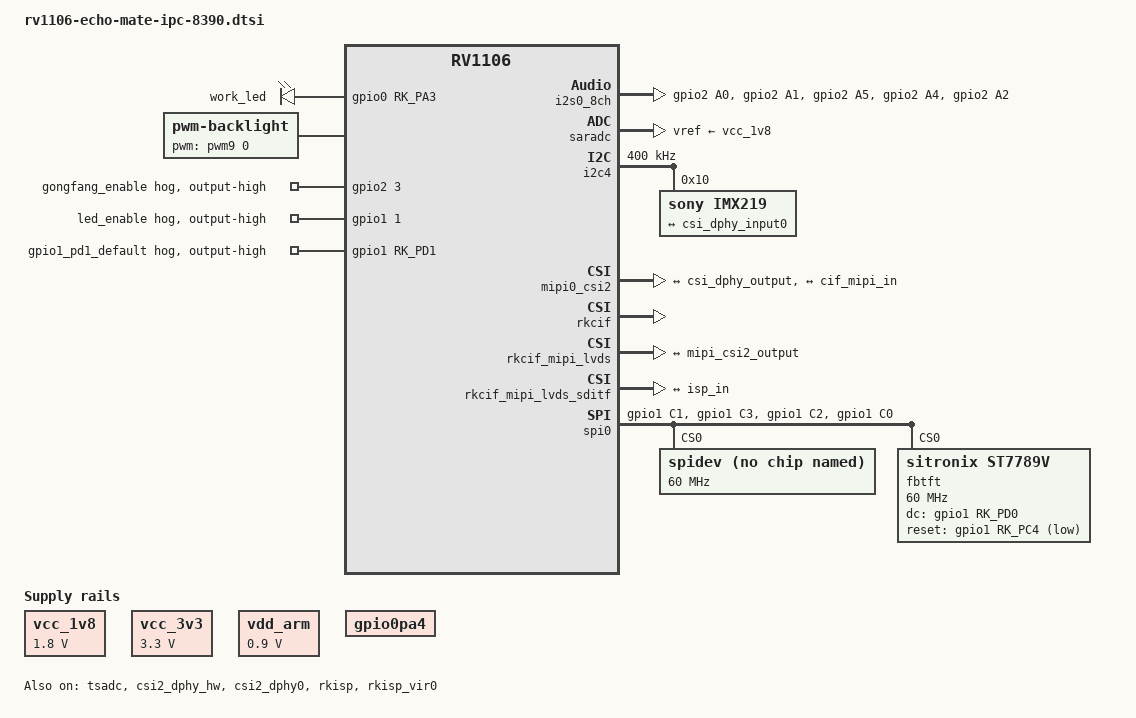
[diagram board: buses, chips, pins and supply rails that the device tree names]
// SPDX-License-Identifier: (GPL-2.0+ OR MIT)
/*
 * Copyright (c) 2022 Rockchip Electronics Co., Ltd.
 */
#include "rv1106-amp.dtsi"

/ {
	chosen {
		bootargs = "earlycon=uart8250,mmio32,0xff4c0000 console=ttyFIQ0 root=/dev/mmcblk1p7 rootwait snd_soc_core.prealloc_buffer_size_kbytes=16 coherent_pool=0 snd_soc_core.disable_offload=0";
	};

	es8390_sound: es8390-sound {
		status = "okay";
		compatible = "simple-audio-card";
		simple-audio-card,name = "rv1106-es8390";
		simple-audio-card,format = "i2s";
		simple-audio-card,mclk-fs = <256>;
		simple-audio-card,mclk-master = <&dai_cpu>;
		simple-audio-card,bitclock-master = <&dai_cpu>;
		simple-audio-card,frame-master = <&dai_cpu>;

		dai_cpu: simple-audio-card,cpu {
        	sound-dai = <&i2s0_8ch>;
    	};

		simple-audio-card,codec {
			sound-dai = <&es8390>;
		};

	};

	vcc_1v8: vcc-1v8 {
		compatible = "regulator-fixed";
		regulator-name = "vcc_1v8";
		regulator-always-on;
		regulator-boot-on;
		regulator-min-microvolt = <1800000>;
		regulator-max-microvolt = <1800000>;
	};

	vcc_3v3: vcc-3v3 {
		compatible = "regulator-fixed";
		regulator-name = "vcc_3v3";
		regulator-always-on;
		regulator-boot-on;
		regulator-min-microvolt = <3300000>;
		regulator-max-microvolt = <3300000>;
	};

	vdd_arm: vdd-arm {
		compatible = "regulator-fixed";
		regulator-name = "vdd_arm";
		regulator-min-microvolt = <900000>;
		regulator-max-microvolt = <900000>;
		regulator-always-on;

		regulator-boot-on;
	};
	leds: leds {
		compatible = "gpio-leds";
		work_led: work{
			gpios = <&gpio0 RK_PA3 GPIO_ACTIVE_HIGH>;
			linux,default-trigger = "activity";
			default-state = "on";
		};	
	};

	backlight: backlight {
		status = "okay";
		compatible = "pwm-backlight";
		pwms = <&pwm9 0 300000 0>;
		brightness-levels = <0 3 5 8 10 13 16 18 21 24 26 29 32 34 37 40 42 45 48 50
							52 54 56 58 61 64 66 69 72 74 77 80 82 85 88 90 93 96 98
							101 104 106 109 112 114 117 120 122 125 128 130 133 136
							138 141 144 146 149 152 154 157 160 162 165 168 170 173
							176 178 180 182 184 186 188 190 192 194 197 200 202 205 
							208 210 213 216 218 221 224 226 229 232 234 237 240 242 
							245 248 250 253 255>;
    	default-brightness-level = <50>; 
	};

	gpio0pa4:gpio0pa4 {
        compatible = "regulator-fixed";
        pinctrl-names = "default";
        pinctrl-0 = <&gpio0_pa4>;
        regulator-name = "gpio0_pa4";
        regulator-always-on;
    };

};



/***************************** AUDIO ********************************/
&i2s0_8ch {
	status = "okay";
	rockchip,clk-trcm = <1>;
	pinctrl-names = "default";
	pinctrl-0 = <&i2s0_sclk &i2s0_lrck &i2s0_sdi0 &i2s0_sdo0 &i2s0_mclk>;
	assigned-clocks = <&cru MCLK_I2S0_8CH_TX>,<&cru I2S0_8CH_MCLKOUT>;
	assigned-clock-rates = <12288000>, <12288000>;
	#sound-dai-cells = <0>;
};

/***************************** CPU ********************************/
&cpu0 {
	cpu-supply = <&vdd_arm>;
};

/***************************** ADC ********************************/
&saradc {
	status = "okay";
	vref-supply = <&vcc_1v8>;
};

&tsadc {
	status = "okay";
};

/***************************** CSI ********************************/
&csi2_dphy_hw {
	status = "okay";
};

&csi2_dphy0 {
	status = "okay";

	ports {
		#address-cells = <1>;
		#size-cells = <0>;

		port@0 {
			reg = <0>;
			#address-cells = <1>;
			#size-cells = <0>;

			csi_dphy_input0: endpoint@0 {
				reg = <0>;
				remote-endpoint = <&imx219_out>;
				data-lanes = <1 2>;
			};
		};

		port@1 {
			reg = <1>;
			#address-cells = <1>;
			#size-cells = <0>;

			csi_dphy_output: endpoint@0 {
				reg = <0>;
				remote-endpoint = <&mipi_csi2_input>;
			};
		};
	};
};

&i2c4 {
	status = "okay";
	clock-frequency = <400000>;
	pinctrl-names = "default";
	pinctrl-0 = <&i2c4m2_xfer>;

	 imx219: imx219@10 {
		status = "okay";
        compatible = "sony,imx219";
        reg = <0x10>;
        clocks = <&cru MCLK_REF_MIPI0>;
        clock-names = "xvclk";
        pinctrl-names = "default";
        pinctrl-0 = <&mipi_refclk_out0>;
        rockchip,camera-module-index = <0>;
        rockchip,camera-module-facing = "back";
        rockchip,camera-module-name = "IMX219";
        rockchip,camera-module-lens-name = "default";

        port {
            imx219_out: endpoint {
                data-lanes = <1 2>;
                remote-endpoint = <&csi_dphy_input0>;
            };
        };
    };
	
	
};

&mipi0_csi2 {
	status = "okay";

	ports {
		#address-cells = <1>;
		#size-cells = <0>;

		port@0 {
			reg = <0>;
			#address-cells = <1>;
			#size-cells = <0>;

			mipi_csi2_input: endpoint@1 {
				reg = <1>;
				remote-endpoint = <&csi_dphy_output>;
			};
		};

		port@1 {
			reg = <1>;
			#address-cells = <1>;
			#size-cells = <0>;

			mipi_csi2_output: endpoint@0 {
				reg = <0>;
				remote-endpoint = <&cif_mipi_in>;
			};
		};
	};
};

&rkcif {
	status = "okay";
};

&rkcif_mipi_lvds {
	status = "okay";

	pinctrl-names = "default";
	pinctrl-0 = <&mipi_pins>;
	port {
		/* MIPI CSI-2 endpoint */
		cif_mipi_in: endpoint {
			remote-endpoint = <&mipi_csi2_output>;
		};
	};
};

&rkcif_mipi_lvds_sditf {
	status = "okay";

	port {
		/* MIPI CSI-2 endpoint */
		mipi_lvds_sditf: endpoint {
			remote-endpoint = <&isp_in>;
		};
	};
};

&rkisp {
	status = "okay";
};

&rkisp_vir0 {
	status = "okay";

	port@0 {
		isp_in: endpoint {
			remote-endpoint = <&mipi_lvds_sditf>;
		};
	};
};


/*****************************PINCTRL********************************/
// SPI
&spi0 {
	pinctrl-0 = <&spi0m0_clk &spi0m0_miso &spi0m0_mosi &spi0m0_cs0>;
	#address-cells = <1>;
	#size-cells = <0>;
	spidev@0 {
    	compatible = "rockchip,spidev";
		spi-max-frequency = <60000000>;
		reg = <0>;
	};

	fbtft@0{
		compatible = "sitronix,st7789v";
		reg = <0>;
		spi-max-frequency = <60000000>;
		fps = <60>;
		buswidth = <8>;
		debug = <0x7>;
		rotate = <270>;
		//bgr = <1>;	//RGB->BGR
		//led-gpios = <&gpio1 RK_PC5 GPIO_ACTIVE_HIGH>;		//BL
		dc-gpios = <&gpio1 RK_PD0 GPIO_ACTIVE_HIGH>;		//DC
		reset-gpios = <&gpio1 RK_PC4 GPIO_ACTIVE_LOW>;		//RES
	};
};
// I2C
&i2c0 {
	pinctrl-0 = <&i2c0m2_xfer>;
};

&i2c1 {
	pinctrl-0 = <&i2c1m1_xfer>;
};

//&i2c3 {
//	pinctrl-0 = <&i2c3m1_xfer &i2c3m0_xfer>;
//};

// &i2c4 {
//  pinctrl-0 = <&i2c4m0_xfer>;
// };

// UART
&uart1 {
	pinctrl-0 = <&uart1m1_xfer>;
};
&uart3 {
	pinctrl-0 = <&uart3m1_xfer>;
};
&uart4 {
	pinctrl-0 = <&uart4m1_xfer>;
};
&uart5 {
	pinctrl-0 = <&uart5m0_xfer>;
};

// PWM
&pwm0 {
	pinctrl-0 = <&pwm0m1_pins>;
};
&pwm2 {
	pinctrl-0 = <&pwm2m2_pins>;
};
&pwm3 {
	pinctrl-0 = <&pwm3m2_pins>;
};
&pwm4 {
	pinctrl-0 = <&pwm4m2_pins>;
};
&pwm5 {
	pinctrl-0 = <&pwm5m2_pins>;
};
&pwm6 {
	pinctrl-0 = <&pwm6m1_pins &pwm6m2_pins>;
};
&pwm8 {
	pinctrl-0 = <&pwm8m1_pins>;
};
&pwm9 {
	pinctrl-0 = <&pwm9m1_pins>;
};
&pwm10 {
	pinctrl-0 = <&pwm10m2_pins>;
};
&pwm11 {
	pinctrl-0 = <&pwm11m1_pins>;
};

&pinctrl {
	spi0 {
		spi0m0_clk: spi0m0-clk {
			rockchip,pins = <1 RK_PC1 4 &pcfg_pull_none>;
		};
		spi0m0_mosi: spi0m0-mosi {
			rockchip,pins = <1 RK_PC2 6 &pcfg_pull_none>;
		};
		spi0m0_miso: spi0m0-miso {
			rockchip,pins = <1 RK_PC3 6 &pcfg_pull_none>;
		};
		spi0m0_cs0: spi0m0-cs0 {
			rockchip,pins = <1 RK_PC0 4 &pcfg_pull_none>;
		};
	};

	// led_b
    gpio0-pa4 {
        gpio0_pa4:gpio0-pa4 {
            rockchip,pins = <0 RK_PA4 RK_FUNC_GPIO &pcfg_pull_none>;
    	};
	};

	gpio1-pa0 {
        gpio1_pa0:gpio1-pa0 {
            rockchip,pins = <1 RK_PA0 RK_FUNC_GPIO &pcfg_pull_none>;
    	};
	};
	gpio1-pa1 {
        gpio1_pa1:gpio1-pa1 {
            rockchip,pins = <1 RK_PA1 RK_FUNC_GPIO &pcfg_pull_none>;
    	};
	};
	gpio1-pa2 {
        gpio1_pa2:gpio1-pa2 {
            rockchip,pins = <1 RK_PA2 RK_FUNC_GPIO &pcfg_pull_none>;
    	};
	};
	gpio1-pa3 {
        gpio1_pa3:gpio1-pa3 {
            rockchip,pins = <1 RK_PA3 RK_FUNC_GPIO &pcfg_pull_none>;
    	};
	};
	gpio1-pd1 {
		gpio1_pd1: gpio1-pd1 {
        	rockchip,pins = <1 RK_PD1 RK_FUNC_GPIO &pcfg_pull_none>;
    	};
	};
	cam_rst {
        cam_rst_gpio: cam-rst-gpio {
            rockchip,pins = <3 RK_PC5 RK_FUNC_GPIO &pcfg_pull_up>;
        };
    };
};

&pinctrl {
	// I2S0 M0 引脚配置
	i2s0 {
		i2s0_sclk: i2s0-sclk {
			rockchip,pins = <2 RK_PA0 1 &pcfg_pull_none>;
		};
		
		i2s0_lrck: i2s0-lrck {
			rockchip,pins = <2 RK_PA1 1 &pcfg_pull_none>;
		};

		i2s0_sdo0: i2s0-sdo0 {
			rockchip,pins = <2 RK_PA4 1 &pcfg_pull_none>;
		};
		
		i2s0_sdi0: i2s0-sdi0 {
			rockchip,pins = <2 RK_PA5 1 &pcfg_pull_none>;
		};
		i2s0_mclk: i2s0-mclk {
			rockchip,pins = <2 RK_PA2 1 &pcfg_pull_none>;
		};
	};
};


&gpio2 {
    gongfang_gpio: gongfang-enable-gpio {
        gpio-hog;
        gpios = <3 GPIO_ACTIVE_HIGH>;
        output-high;
        line-name = "gongfang_enable";
    };
};

&gpio1 {
    led_gpio: led-enable-gpio {
        gpio-hog;
        gpios = <1 GPIO_ACTIVE_HIGH>;
        output-high;
        line-name = "led_enable";
    };
    
    gpio1_pd1_default: gpio1-pd1-default {
        gpio-hog;
        gpios = <RK_PD1 GPIO_ACTIVE_HIGH>;
        output-high;
        line-name = "gpio1_pd1_default";
    };
};




